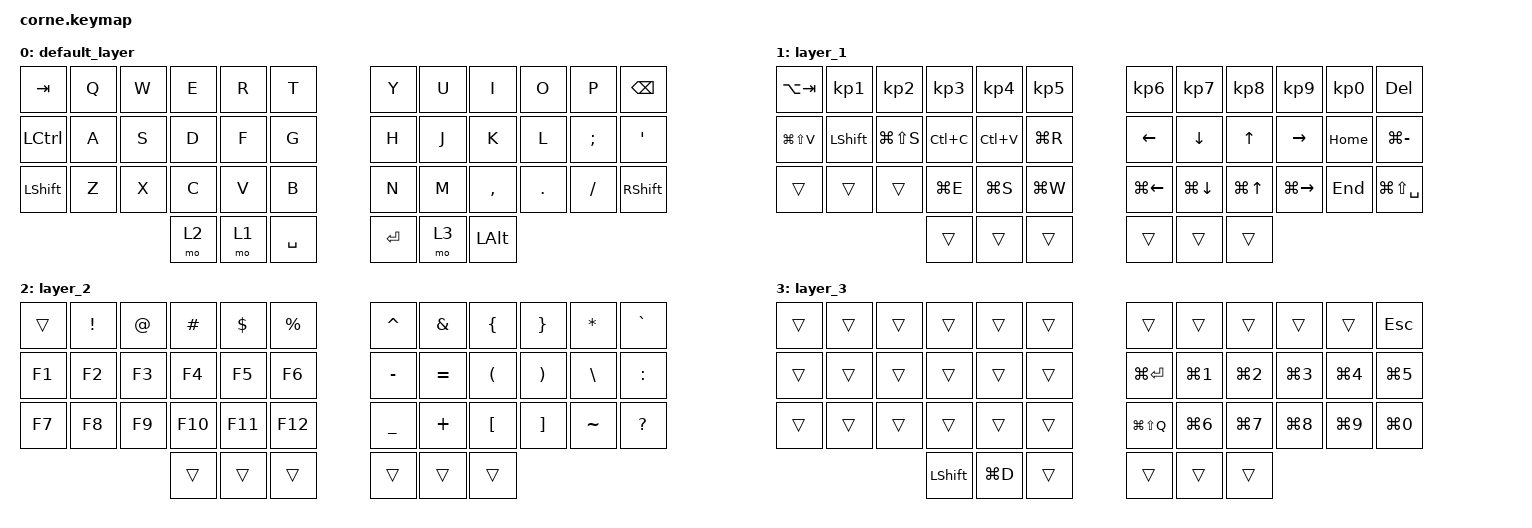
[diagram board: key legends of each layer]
/*
 * Copyright (c) 2020 The ZMK Contributors
 *
 * SPDX-License-Identifier: MIT
 */

#include <behaviors.dtsi>
#include <dt-bindings/zmk/bt.h>
#include <dt-bindings/zmk/keys.h>

/ {
    combos {
        compatible = "zmk,combos";

        clear_all_profiles {
            bindings = <&bt BT_CLR_ALL>;
            key-positions = <40 0 24>;
        };
    };

    behaviors {
        ss_hs_modmorph: ss_hs_modmorph {
            compatible = "zmk,behavior-mod-morph";
            label = "SS_HS_MODMORPH";
            bindings = <&kp M>, <&kp RIGHT_BRACKET>;

            #binding-cells = <0>;
            mods = <(MOD_LSFT|MOD_RSFT)>;
        };

        kh_hs_tapdance: kh_hs_tapdance {
            compatible = "zmk,behavior-tap-dance";
            label = "KH_HS_TAPDANCE";
            #binding-cells = <0>;
            tapping-term-ms = <200>;
            bindings = <&kp LEFT_BRACKET>, <&kp RIGHT_BRACKET>;
        };

        hrm: hrm {
            compatible = "zmk,behavior-hold-tap";
            #binding-cells = <2>;
            flavor = "tap-preferred";
            tapping-term-ms = <200>;
            quick-tap-ms = <200>;
            require-prior-idle-ms = <125>;
            bindings = <&kp>, <&kp>;
        };
    };

    keymap {
        compatible = "zmk,keymap";

        default_layer {
            // -----------------------------------------------------------------------------------------
            // |  TAB |  Q  |  W  |  E  |  R  |  T  |   |  Y  |  U   |  I  |  O  |  P  | BKSP |
            // | CTRL |  A  |  S  |  D  |  F  |  G  |   |  H  |  J   |  K  |  L  |  ;  |  '   |
            // | SHFT |  Z  |  X  |  C  |  V  |  B  |   |  N  |  M   |  ,  |  .  |  /  | ESC  |
            //                    | GUI | LWR | SPC |   | ENT | RSE  | ALT |

            bindings = <
&kp TAB    &kp Q  &kp W  &kp E  &kp R  &kp T        &kp Y    &kp U  &kp I      &kp O    &kp P     &kp BSPC
&kp LCTRL  &kp A  &kp S  &kp D  &kp F  &kp G        &kp H    &kp J  &kp K      &kp L    &kp SEMI  &kp SQT
&kp LSHFT  &kp Z  &kp X  &kp C  &kp V  &kp B        &kp N    &kp M  &kp COMMA  &kp DOT  &kp FSLH  &kp RSHIFT
                         &mo 2  &mo 1  &kp SPACE    &kp RET  &mo 3  &kp LALT
            >;
        };

        layer_1 {
            // -----------------------------------------------------------------------------------------
            // |  TAB |  1  |  2  |  3  |  4  |  5  |   |  6  |  7  |  8  |  9  |  0  | BKSP |
            // | BTCLR| BT1 | BT2 | BT3 | BT4 | BT5 |   | LFT | DWN |  UP | RGT |     |      |
            // | SHFT |     |     |     |     |     |   |     |     |     |     |     |      |
            //                    | GUI |     | SPC |   | ENT |     | ALT |

            bindings = <
&kp LA(TAB)    &kp KP_NUMBER_1  &kp KP_NUMBER_2  &kp KP_NUMBER_3  &kp KP_NUMBER_4  &kp KP_NUMBER_5    &kp KP_NUMBER_6  &kp KP_NUMBER_7  &kp KP_NUMBER_8  &kp KP_NUMBER_9  &kp KP_NUMBER_0  &kp DEL
&kp LG(LS(V))  &kp LEFT_SHIFT   &kp LG(LS(S))    &kp LC(C)        &kp LC(V)        &kp LG(R)          &kp LEFT         &kp DOWN         &kp UP           &kp RIGHT        &kp HOME         &kp LG(MINUS)
&trans         &trans           &trans           &kp LG(E)        &kp LG(S)        &kp LG(W)          &kp LG(LEFT)     &kp LG(DOWN)     &kp LG(UP)       &kp LG(RIGHT)    &kp END          &kp LG(LS(SPACE))
                                                 &trans           &trans           &trans             &trans           &trans           &trans
            >;
        };

        layer_2 {
            // -----------------------------------------------------------------------------------------
            // |  TAB |  !  |  @  |  #  |  $  |  %  |   |  ^  |  &  |  *  |  (  |  )  | BKSP |
            // | CTRL |     |     |     |     |     |   |  -  |  =  |  [  |  ]  |  \  |  `   |
            // | SHFT |     |     |     |     |     |   |  _  |  +  |  {  |  }  | "|" |  ~   |
            //                    | GUI |     | SPC |   | ENT |     | ALT |

            bindings = <
&trans  &kp EXCL  &kp AT  &kp HASH  &kp DLLR  &kp PRCNT    &kp CARET  &kp AMPS   &kp LBRC          &kp RBRC           &kp ASTERISK  &kp GRAVE
&kp F1  &kp F2    &kp F3  &kp F4    &kp F5    &kp F6       &kp MINUS  &kp EQUAL  &kp LPAR          &kp RPAR           &kp BSLH      &kp COLON
&kp F7  &kp F8    &kp F9  &kp F10   &kp F11   &kp F12      &kp UNDER  &kp PLUS   &kp LEFT_BRACKET  &kp RIGHT_BRACKET  &kp TILDE     &kp QUESTION
                          &trans    &trans    &trans       &trans     &trans     &trans
            >;
        };

        layer_3 {
            bindings = <
&trans  &trans  &trans  &trans      &trans     &trans    &trans         &trans      &trans      &trans      &trans      &kp ESC
&trans  &trans  &trans  &trans      &trans     &trans    &kp LG(ENTER)  &kp LG(N1)  &kp LG(N2)  &kp LG(N3)  &kp LG(N4)  &kp LG(N5)
&trans  &trans  &trans  &trans      &trans     &trans    &kp LG(LS(Q))  &kp LG(N6)  &kp LG(N7)  &kp LG(N8)  &kp LG(N9)  &kp LG(N0)
                        &kp LSHIFT  &kp LG(D)  &trans    &trans         &trans      &trans
            >;
        };
    };
};
